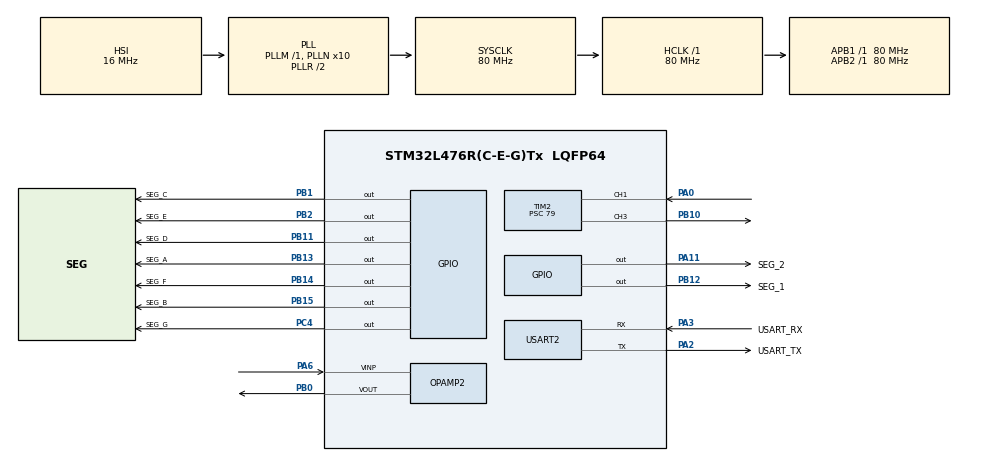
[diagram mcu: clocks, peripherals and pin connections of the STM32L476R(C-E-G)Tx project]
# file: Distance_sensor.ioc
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ADC1.Channel-1\#ChannelRegularConversion=ADC_CHANNEL_15
ADC1.ContinuousConvMode=ENABLE
ADC1.NbrOfConversionFlag=1
ADC1.OffsetNumber-1\#ChannelRegularConversion=ADC_OFFSET_NONE
ADC1.Overrun=ADC_OVR_DATA_OVERWRITTEN
ADC1.Rank-1\#ChannelRegularConversion=1
ADC1.SamplingTime-1\#ChannelRegularConversion=ADC_SAMPLETIME_640CYCLES_5
ADC1.master=1
Mcu.Family=STM32L4
Mcu.Name=STM32L476R(C-E-G)Tx
Mcu.Package=LQFP64
NVIC.PriorityGroup=NVIC_PRIORITYGROUP_4
NVIC.TIM2_IRQn=true\:10\:0\:true\:false\:true\:true\:true\:true
NVIC.TIM6_DAC_IRQn=true\:10\:0\:true\:false\:true\:true\:true\:true
OPAMP2.PgaGain=OPAMP_PGA_GAIN_4
OPAMP2.PowerSupplyRange=OPAMP_POWERSUPPLY_HIGH
PA0.Signal=S_TIM2_CH1
PA11.GPIO_Label=SEG_2
PA11.GPIO_ModeDefaultOutputPP=GPIO_MODE_OUTPUT_OD
PA11.GPIO_PuPd=GPIO_NOPULL
PA11.PinState=GPIO_PIN_SET
PA11.Signal=GPIO_Output
PA13\ (JTMS-SWDIO).GPIO_Label=TMS
PA13\ (JTMS-SWDIO).Mode=Serial_Wire
PA13\ (JTMS-SWDIO).Signal=SYS_JTMS-SWDIO
PA14\ (JTCK-SWCLK).GPIO_Label=TCK
PA14\ (JTCK-SWCLK).Mode=Serial_Wire
PA14\ (JTCK-SWCLK).Signal=SYS_JTCK-SWCLK
PA2.GPIO_Label=USART_TX
PA2.GPIO_Mode=GPIO_MODE_AF_PP
PA2.GPIO_PuPd=GPIO_NOPULL
PA2.GPIO_Speed=GPIO_SPEED_FREQ_VERY_HIGH
PA2.Mode=Asynchronous
PA2.Signal=USART2_TX
PA3.GPIO_Label=USART_RX
PA3.GPIO_Mode=GPIO_MODE_AF_PP
PA3.GPIO_PuPd=GPIO_NOPULL
PA3.GPIO_Speed=GPIO_SPEED_FREQ_VERY_HIGH
PA3.Mode=Asynchronous
PA3.Signal=USART2_RX
PA6.Mode=PGA Not Connected
PA6.Signal=OPAMP2_VINP
PB0.Signal=SharedAnalog_PB0
PB1.GPIO_Label=SEG_C
PB1.Signal=GPIO_Output
PB10.Signal=S_TIM2_CH3
PB11.GPIO_Label=SEG_D
PB11.Signal=GPIO_Output
PB12.GPIO_Label=SEG_1
PB12.GPIO_ModeDefaultOutputPP=GPIO_MODE_OUTPUT_OD
PB12.GPIO_PuPd=GPIO_NOPULL
PB12.PinState=GPIO_PIN_SET
PB12.Signal=GPIO_Output
PB13.GPIO_Label=SEG_A
PB13.Signal=GPIO_Output
PB14.GPIO_Label=SEG_F
PB14.Signal=GPIO_Output
PB15.GPIO_Label=SEG_B
PB15.Signal=GPIO_Output
PB2.GPIO_Label=SEG_E
PB2.Signal=GPIO_Output
PC4.GPIO_Label=SEG_G
PC4.Signal=GPIO_Output
ProjectManager.HeapSize=0x200
ProjectManager.StackSize=0x400
ProjectManager.TargetToolchain=STM32CubeIDE
RCC.ADCFreq_Value=64000000
RCC.AHBFreq_Value=80000000
RCC.APB1Freq_Value=80000000
RCC.APB1TimFreq_Value=80000000
RCC.APB2Freq_Value=80000000
RCC.APB2TimFreq_Value=80000000
RCC.CortexFreq_Value=80000000
RCC.HCLKFreq_Value=80000000
RCC.HSE_VALUE=8000000
RCC.HSI_VALUE=16000000
RCC.LSE_VALUE=32768
RCC.MSI_VALUE=4000000
RCC.PLLN=10
RCC.PLLSourceVirtual=RCC_PLLSOURCE_HSI
RCC.PREFETCH_ENABLE=1
RCC.SYSCLKFreq_VALUE=80000000
RCC.SYSCLKSource=RCC_SYSCLKSOURCE_PLLCLK
RCC.USBFreq_Value=64000000
RCC.VCOOutputFreq_Value=160000000
SH.S_TIM2_CH1.0=TIM2_CH1,Input_Capture1_from_TI1
SH.S_TIM2_CH3.0=TIM2_CH3,PWM Generation3 CH3
SH.SharedAnalog_PB0.0=ADC1_IN15
SH.SharedAnalog_PB0.1=OPAMP2_VOUT,PGA Not Connected
TIM2.Channel-Input_Capture1_from_TI1=TIM_CHANNEL_1
TIM2.Channel-Input_Capture2_from_TI1_63=TIM_CHANNEL_2
TIM2.Channel-PWM\ Generation3\ CH3=TIM_CHANNEL_3
TIM2.ICPolarity_CH1=TIM_INPUTCHANNELPOLARITY_RISING
TIM2.ICPolarity_CH2=TIM_INPUTCHANNELPOLARITY_FALLING
TIM2.Period=99999
TIM2.Prescaler=79
TIM2.Pulse-PWM\ Generation3\ CH3=10
TIM6.Period=9
TIM6.Prescaler=7999
USART2.VirtualMode-Asynchronous=VM_ASYNC
VP_ADC1_OPAMP2_OUT.Mode=IN15-OPAMP2-Single-Ended
VP_TIM2_VS_ClockSourceINT.Mode=Internal
VP_TIM2_VS_indirect_ch1.Mode=Input_Capture2_from_TI1_63
VP_TIM6_VS_ClockSourceINT.Mode=Enable_Timer
board=NUCLEO-L476RG

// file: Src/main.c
/* USER CODE BEGIN Header */
/**
  ******************************************************************************
  * @file           : main.c
  * @brief          : Main program body
  ******************************************************************************
  * @attention
  *
  * Copyright (c) 2024 STMicroelectronics.
  * All rights reserved.
  *
  * This software is licensed under terms that can be found in the LICENSE file
  * in the root directory of this software component.
  * If no LICENSE file comes with this software, it is provided AS-IS.
  *
  ******************************************************************************
  */
/* USER CODE END Header */
#include "main.h"
#include "adc.h"
#include "opamp.h"
#include "tim.h"
#include "usart.h"
#include "gpio.h"

/* USER CODE BEGIN Includes */
#include <stdio.h>
#include "seg7.h"
/* USER CODE END Includes */

void SystemClock_Config(void);

/* USER CODE BEGIN 0 */
int __io_putchar(int ch)
{
  if (ch == '\n') {
    __io_putchar('\r');
  }

  HAL_UART_Transmit(&huart2, (uint8_t*)&ch, 1, HAL_MAX_DELAY);

  return 1;
}

/* USER CODE BEGIN 0 */
static float calc_sound_speed(void)
{
	uint32_t adc_value = HAL_ADC_GetValue(&hadc1);
	float temp = adc_value * 330.0f / 4096.0f / 4.0f;
	return 331.8f + 0.6f * temp;
}

void HAL_TIM_PeriodElapsedCallback(TIM_HandleTypeDef *htim)
{
	if (htim == &htim6) {
		seg7_update();
	} else if (htim == &htim2) {
		uint32_t start = HAL_TIM_ReadCapturedValue(&htim2, TIM_CHANNEL_1);
		uint32_t stop = HAL_TIM_ReadCapturedValue(&htim2, TIM_CHANNEL_2);
		seg7_show((stop - start) * calc_sound_speed() / 20000.0f);
	}
}
/* USER CODE END 0 */

int main(void)
{

  /* MCU Configuration--------------------------------------------------------*/

  /* Reset of all peripherals, Initializes the Flash interface and the Systick. */
  HAL_Init();

  /* Configure the system clock */
  SystemClock_Config();

  /* Initialize all configured peripherals */
  MX_GPIO_Init();
  MX_USART2_UART_Init();
  MX_TIM2_Init();
  MX_TIM6_Init();
  MX_OPAMP2_Init();
  MX_ADC1_Init();

  /* Infinite loop */
  /* USER CODE BEGIN WHILE */
  HAL_TIM_Base_Start_IT(&htim6);
  HAL_TIM_Base_Start_IT(&htim2);
  HAL_TIM_IC_Start(&htim2, TIM_CHANNEL_1);
  HAL_TIM_IC_Start(&htim2, TIM_CHANNEL_2);
  HAL_TIM_PWM_Start(&htim2, TIM_CHANNEL_3);

  HAL_ADCEx_Calibration_Start(&hadc1, ADC_SINGLE_ENDED);
  HAL_ADC_Start(&hadc1);

  HAL_OPAMP_SelfCalibrate(&hopamp2);
  HAL_OPAMP_Start(&hopamp2);
  while (1)
  {
    /* USER CODE END WHILE */

  }
}

void SystemClock_Config(void)
{
  RCC_OscInitTypeDef RCC_OscInitStruct = {0};
  RCC_ClkInitTypeDef RCC_ClkInitStruct = {0};

  /** Configure the main internal regulator output voltage
  */
  if (HAL_PWREx_ControlVoltageScaling(PWR_REGULATOR_VOLTAGE_SCALE1) != HAL_OK)
  {
    Error_Handler();
  }

  /** Initializes the RCC Oscillators according to the specified parameters
  * in the RCC_OscInitTypeDef structure.
  */
  RCC_OscInitStruct.OscillatorType = RCC_OSCILLATORTYPE_HSI;
  RCC_OscInitStruct.HSIState = RCC_HSI_ON;
  RCC_OscInitStruct.HSICalibrationValue = RCC_HSICALIBRATION_DEFAULT;
  RCC_OscInitStruct.PLL.PLLState = RCC_PLL_ON;
  RCC_OscInitStruct.PLL.PLLSource = RCC_PLLSOURCE_HSI;
  RCC_OscInitStruct.PLL.PLLM = 1;
  RCC_OscInitStruct.PLL.PLLN = 10;
  RCC_OscInitStruct.PLL.PLLP = RCC_PLLP_DIV7;
  RCC_OscInitStruct.PLL.PLLQ = RCC_PLLQ_DIV2;
  RCC_OscInitStruct.PLL.PLLR = RCC_PLLR_DIV2;
  if (HAL_RCC_OscConfig(&RCC_OscInitStruct) != HAL_OK)
  {
    Error_Handler();
  }

  /** Initializes the CPU, AHB and APB buses clocks
  */
  RCC_ClkInitStruct.ClockType = RCC_CLOCKTYPE_HCLK|RCC_CLOCKTYPE_SYSCLK
                              |RCC_CLOCKTYPE_PCLK1|RCC_CLOCKTYPE_PCLK2;
  RCC_ClkInitStruct.SYSCLKSource = RCC_SYSCLKSOURCE_PLLCLK;
  RCC_ClkInitStruct.AHBCLKDivider = RCC_SYSCLK_DIV1;
  RCC_ClkInitStruct.APB1CLKDivider = RCC_HCLK_DIV1;
  RCC_ClkInitStruct.APB2CLKDivider = RCC_HCLK_DIV1;

  if (HAL_RCC_ClockConfig(&RCC_ClkInitStruct, FLASH_LATENCY_4) != HAL_OK)
  {
    Error_Handler();
  }
}

void Error_Handler(void)
{
  __disable_irq();
  while (1)
  {
  }
}
